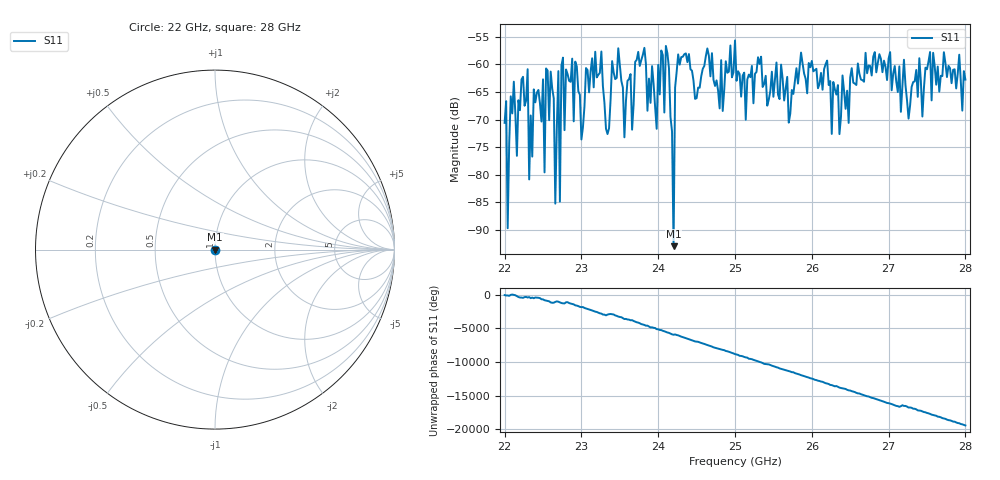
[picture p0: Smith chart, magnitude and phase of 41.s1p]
#  HZ  S  RI  R  50.00
! Rohde & Schwarz ZVA40 4Ports - Version 3.90 - 1145.1110k42 SN: 100403
! Date: 2023-10-04 11:29:59
! Measurement: S12
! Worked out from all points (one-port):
!   301 points, 22 GHz to 28 GHz, reference 50 ohm
!   lowest |S11| = -92.9 dB at 24.2 GHz (marker M1), VSWR 1.00, Z = 50 - j0.000246 ohm
!   |S11| at or under -10 dB: start of sweep to end of sweep
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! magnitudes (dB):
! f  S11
! 22 GHz  -70.6
! 22.3 GHz  -60.9
! 22.32 GHz  -80.8
! 22.5 GHz  -62.7
! 22.52 GHz  -79.6
! 22.54 GHz  -60.8
! 22.6 GHz  -61.3
! 22.66 GHz  -85.2
! 22.7 GHz  -61.2
! 22.72 GHz  -84.8
! 22.76 GHz  -58.8
! 22.78 GHz  -71.9
! 22.88 GHz  -59.0
! 23 GHz  -73.6
! 23.5 GHz  -60.1
! 23.56 GHz  -73.2
! 23.82 GHz  -57.0
! 23.98 GHz  -71.7
! 24.1 GHz  -56.7
! 24.2 GHz  -92.9
! 24.26 GHz  -58.2
! 24.84 GHz  -68.4
! 25 GHz  -55.7
! 25.14 GHz  -70.0
! 25.76 GHz  -65.4
! 26.5 GHz  -62.4
! 27.26 GHz  -69.8
! 28 GHz  -62.8
